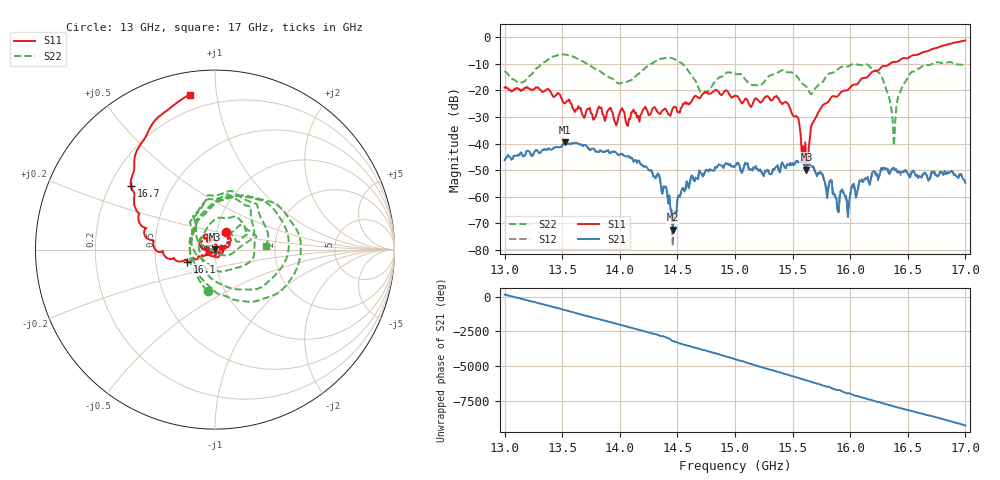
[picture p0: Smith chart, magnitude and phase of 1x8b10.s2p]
!Keysight Technologies,P9374A,MY57211807,A.19.30.04
!Date: Friday, May 08, 2026 14:24:46
!Correction: S11(C  2-Port  )
!S21(C  2-Port  )
!S12(C  2-Port  )
!S22(C  2-Port  )
!S2P File: Measurements: S11, S21, S12, S22:
# Hz S  dB  R 50
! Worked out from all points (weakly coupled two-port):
!   401 points, 13 GHz to 17 GHz, reference 50 ohm
!   highest |S21| = -39.56 dB at 13.52 GHz (marker M1); lowest = -72.5 dB at 14.46 GHz (marker M2)
!   lowest |S11| = -49.8 dB at 15.62 GHz (marker M3), VSWR 1.01, Z = 49.8 + j0.247 ohm
!   |S11| at or under -10 dB: start of sweep to 16.34 GHz
!   |S22| runs from -40.8 to -6.4 dB; largest |S21 - S12| = 0.00045
!   S11 on the Smith chart (normalised r, x): 13 GHz: 1.10, +0.22; 16.1 GHz: 0.73, -0.10; 16.7 GHz: 0.29, +0.31; 17 GHz: 0.11, +0.84
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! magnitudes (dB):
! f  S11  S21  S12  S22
! 13 GHz  -18.9  -46.2  -46.4  -12.7
! 13.15 GHz  -19.7  -43.8  -43.8  -16.9
! 13.52 GHz  -24.9  -39.6  -39.7  -6.5
! 13.67 GHz  -28.7  -40.4  -40.6  -8.8
! 14 GHz  -28.3  -44.2  -44.2  -17.3
! 14.34 GHz  -28.7  -51.7  -51.9  -8.3
! 14.46 GHz  -26.8  -72.5  -78.7  -7.9
! 14.53 GHz  -26.7  -58.6  -58.9  -9.6
! 14.72 GHz  -21.3  -52.5  -52.3  -21.3
! 15 GHz  -21.9  -48.7  -48.5  -13.6
! 15.45 GHz  -24.6  -47.9  -47.9  -13.1
! 15.54 GHz  -30.0  -46.5  -46.5  -14.8
! 15.62 GHz  -49.8  -49.0  -48.9  -18.7
! 15.67 GHz  -32.5  -48.8  -48.7  -21.0
! 15.88 GHz  -22.4  -60.8  -60.4  -12.5
! 16.1 GHz  -15.5  -54.2  -53.4  -10.5
! 16.26 GHz  -11.8  -50.9  -50.8  -13.7
! 16.34 GHz  -10.1  -51.5  -50.7  -23.1
! 16.38 GHz  -9.2  -49.4  -49.1  -40.8
! 16.51 GHz  -7.6  -52.2  -51.7  -14.3
! 16.7 GHz  -4.6  -52.4  -51.4  -10.2
! 17 GHz  -1.2  -54.8  -54.6  -10.9
